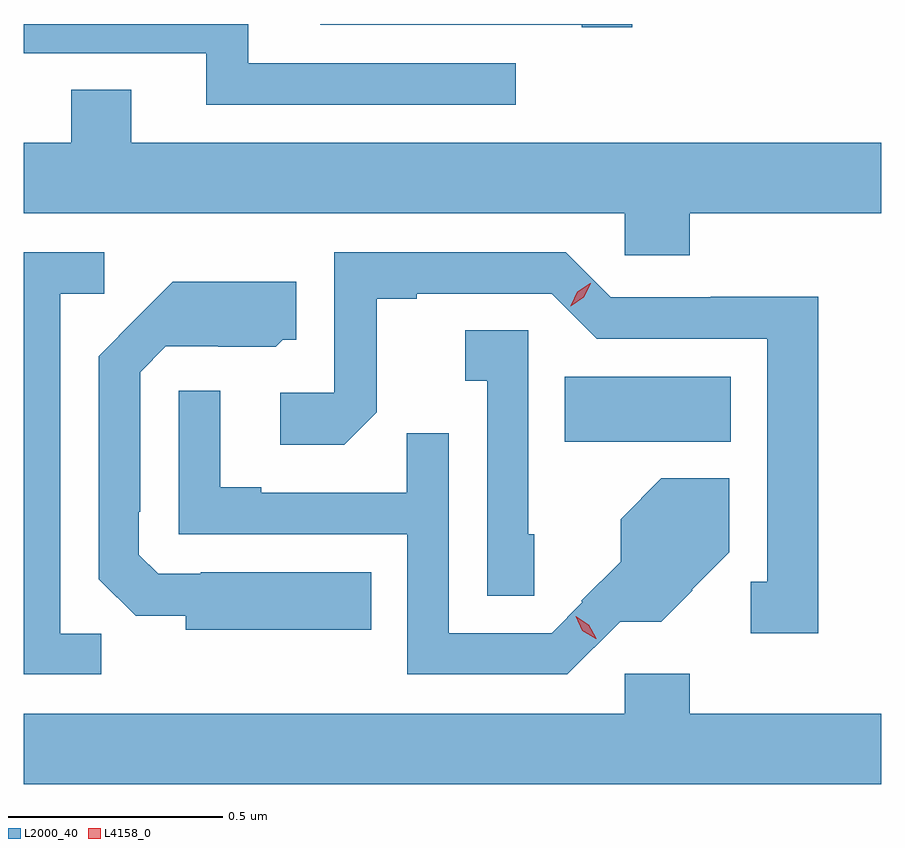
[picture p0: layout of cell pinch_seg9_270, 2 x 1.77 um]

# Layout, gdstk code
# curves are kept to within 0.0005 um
import gdstk
lib = gdstk.Library(unit=1e-6, precision=1e-09)
def R(c, l, rs):  # rectangles x0, y0, x1, y1
    for r in rs: c.add(gdstk.rectangle(r[:2], r[2:], *l))
def P(c, l, *ps):  # polygons
    for p in ps: c.add(gdstk.Polygon(p, *l))
L2000_40 = (2000, 40)
L4158_0 = (4158, 0)

pinch_seg9_270 = lib.new_cell('pinch_seg9_270')
R(pinch_seg9_270, L2000_40, [(504.778,1229.186,505.165,1229.338)])
P(pinch_seg9_270, L2000_40, [(504.935,1230.161),(504.207,1230.161),(504.207,1230.159),(504.818,1230.159),(504.818,1230.154),(504.935,1230.154)],
  [(504.664,1230.069),(504.04,1230.069),(504.04,1230.161),(503.516,1230.161),(503.516,1230.093),(503.942,1230.093),(503.942,1229.973),(504.664,1229.973)],
  [(505.07,1229.72),(505.516,1229.72),(505.516,1229.884),(503.767,1229.884),(503.767,1230.008),(503.627,1230.008),(503.627,1229.884),(503.516,1229.884),(503.516,1229.72),(504.918,1229.72),(504.918,1229.622),(505.07,1229.622)],
  [(503.697,1228.739),(503.601,1228.739),(503.601,1229.532),(503.704,1229.532),(503.704,1229.628),(503.516,1229.628),(503.516,1228.644),(503.697,1228.644)],
  [(505.369,1229.525),(505.118,1229.525),(505.118,1229.523),(504.885,1229.523),(504.78,1229.628),(504.24,1229.628),(504.24,1229.301),(504.114,1229.301),(504.114,1229.18),(504.264,1229.18),(504.339,1229.255),(504.339,1229.52),(504.433,1229.52),(504.433,1229.532),(504.748,1229.532),(504.853,1229.427),(505.25,1229.427),(505.25,1228.86),(505.212,1228.86),(505.212,1228.74),(505.369,1228.74)],
  [(504.326,1228.882),(503.929,1228.882),(503.929,1228.878),(503.829,1228.878),(503.784,1228.923),(503.784,1229.023),(503.787,1229.023),(503.787,1229.349),(503.847,1229.409),(503.97,1229.409),(503.97,1229.408),(504.104,1229.408),(504.12,1229.424),(504.151,1229.424),(504.151,1229.56),(503.863,1229.56),(503.691,1229.386),(503.691,1228.866),(503.777,1228.78),(503.894,1228.78),(503.894,1228.748),(504.326,1228.748)],
  [(504.707,1228.971),(504.693,1228.971),(504.693,1229.447),(504.546,1229.447),(504.546,1229.329),(504.597,1229.329),(504.597,1228.827),(504.707,1228.827)],
  [(504.907,1228.767),(505.003,1228.767),(505.076,1228.84),(505.074,1228.841),(505.162,1228.929),(505.162,1229.101),(505.003,1229.101),(504.908,1229.006),(504.908,1228.907),(504.816,1228.815),(504.819,1228.812),(504.747,1228.74),(504.507,1228.74),(504.507,1229.206),(504.409,1229.206),(504.409,1229.067),(504.07,1229.067),(504.07,1229.08),(503.974,1229.08),(503.974,1229.305),(503.877,1229.305),(503.877,1228.971),(504.411,1228.971),(504.411,1228.644),(504.784,1228.644)],
  [(505.516,1228.552),(505.07,1228.552),(505.07,1228.645),(504.918,1228.645),(504.918,1228.552),(503.516,1228.552),(503.516,1228.388),(505.516,1228.388)])
P(pinch_seg9_270, L4158_0, [(504.85,1228.727),(504.819,1228.746),(504.803,1228.779),(504.803,1228.779),(504.803,1228.779),(504.834,1228.76),(504.851,1228.728),(504.851,1228.727)],
  [(504.792,1229.503),(504.792,1229.504),(504.807,1229.536),(504.837,1229.556),(504.838,1229.556),(504.838,1229.555),(504.822,1229.523),(504.792,1229.503)])

lib.write_gds('pinch_seg9_270.gds')
